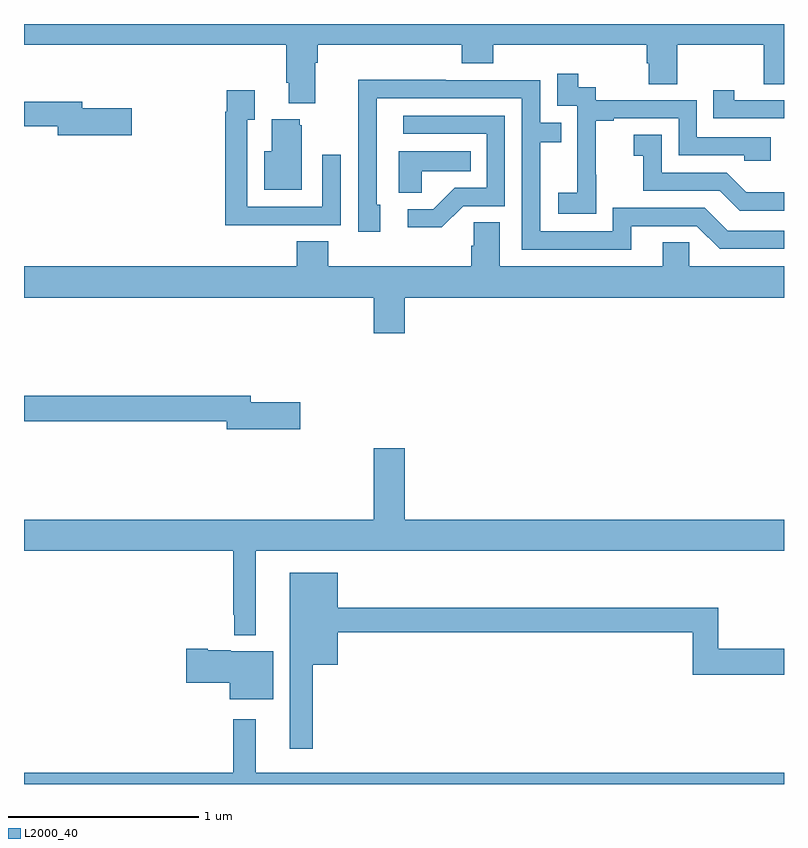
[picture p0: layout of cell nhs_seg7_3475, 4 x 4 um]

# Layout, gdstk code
import gdstk
lib = gdstk.Library(unit=1e-6, precision=1e-09)
def P(c, l, *ps):  # polygons
    for p in ps: c.add(gdstk.Polygon(p, *l))
L2000_40 = (2000, 40)

nhs_seg7_3475 = lib.new_cell('nhs_seg7_3475')
P(nhs_seg7_3475, L2000_40, [(332.533,1057.796),(332.546,1057.796),(332.546,1057.892),(333.305,1057.892),(333.305,1057.793),(333.47,1057.793),(333.47,1057.892),(334.277,1057.892),(334.277,1057.794),(334.289,1057.794),(334.289,1057.684),(334.437,1057.684),(334.437,1057.892),(334.894,1057.892),(334.894,1057.684),(335,1057.684),(335,1058),(331,1058),(331,1057.892),(332.381,1057.892),(332.381,1057.69),(332.393,1057.69),(332.393,1057.583),(332.533,1057.583)],
  [(334.011,1057.207),(334.01,1057.207),(334.01,1057.491),(334.105,1057.491),(334.105,1057.503),(334.446,1057.503),(334.446,1057.308),(334.791,1057.308),(334.791,1057.281),(334.931,1057.281),(334.931,1057.404),(334.542,1057.404),(334.542,1057.599),(334.008,1057.599),(334.008,1057.668),(333.916,1057.668),(333.916,1057.738),(333.807,1057.738),(333.807,1057.569),(333.912,1057.569),(333.912,1057.34),(333.911,1057.34),(333.911,1057.111),(333.813,1057.111),(333.813,1057.001),(334.011,1057.001)],
  [(334.195,1056.936),(334.542,1056.936),(334.662,1056.816),(335,1056.816),(335,1056.912),(334.704,1056.912),(334.584,1057.032),(334.098,1057.032),(334.098,1056.909),(333.717,1056.909),(333.717,1057.378),(333.827,1057.378),(333.827,1057.479),(333.717,1057.479),(333.717,1057.704),(333.221,1057.704),(333.221,1057.706),(332.758,1057.706),(332.758,1057.399),(332.76,1057.399),(332.76,1056.906),(332.875,1056.906),(332.875,1057.05),(332.856,1057.05),(332.856,1057.608),(333.621,1057.608),(333.621,1056.813),(334.195,1056.813)],
  [(335,1057.599),(334.738,1057.599),(334.738,1057.651),(334.627,1057.651),(334.627,1057.503),(335,1057.503)],
  [(332.351,1056.942),(332.667,1056.942),(332.667,1057.312),(332.571,1057.312),(332.571,1057.038),(332.175,1057.038),(332.175,1057.495),(332.215,1057.495),(332.215,1057.651),(332.067,1057.651),(332.067,1057.538),(332.059,1057.538),(332.059,1056.941),(332.351,1056.941)],
  [(331.567,1057.557),(331.306,1057.557),(331.306,1057.591),(331,1057.591),(331,1057.462),(331.178,1057.462),(331.178,1057.415),(331.567,1057.415)],
  [(333.312,1057.041),(333.531,1057.041),(333.531,1057.518),(332.997,1057.518),(332.997,1057.422),(333.435,1057.422),(333.435,1057.137),(333.266,1057.137),(333.155,1057.026),(333.021,1057.026),(333.021,1056.929),(333.199,1056.929)],
  [(332.461,1057.467),(332.45,1057.467),(332.45,1057.498),(332.303,1057.498),(332.303,1057.33),(332.264,1057.33),(332.264,1057.127),(332.461,1057.127)],
  [(335,1057.114),(334.802,1057.114),(334.698,1057.218),(334.356,1057.218),(334.356,1057.417),(334.209,1057.417),(334.209,1057.307),(334.258,1057.307),(334.258,1057.122),(334.661,1057.122),(334.766,1057.017),(335,1057.017)],
  [(333.093,1057.226),(333.35,1057.226),(333.35,1057.33),(332.972,1057.33),(332.972,1057.111),(333.093,1057.111)],
  [(333.004,1056.56),(335,1056.56),(335,1056.724),(334.5,1056.724),(334.5,1056.851),(334.361,1056.851),(334.361,1056.724),(333.505,1056.724),(333.505,1056.956),(333.366,1056.956),(333.366,1056.833),(333.353,1056.833),(333.353,1056.724),(332.6,1056.724),(332.6,1056.857),(332.435,1056.857),(332.435,1056.724),(331,1056.724),(331,1056.56),(332.84,1056.56),(332.84,1056.372),(333.004,1056.372)],
  [(332.455,1056.008),(332.194,1056.008),(332.194,1056.044),(331,1056.044),(331,1055.908),(332.066,1055.908),(332.066,1055.866),(332.455,1055.866)],
  [(332.221,1055.228),(335,1055.228),(335,1055.392),(333.004,1055.392),(333.004,1055.767),(332.84,1055.767),(332.84,1055.392),(331,1055.392),(331,1055.228),(332.1,1055.228),(332.1,1054.891),(332.107,1054.891),(332.107,1054.784),(332.221,1054.784)],
  [(332.521,1054.628),(332.65,1054.628),(332.65,1054.798),(334.519,1054.798),(334.519,1054.576),(335,1054.576),(335,1054.712),(334.655,1054.712),(334.655,1054.927),(332.65,1054.927),(332.65,1055.113),(332.399,1055.113),(332.399,1054.185),(332.521,1054.185)],
  [(332.311,1054.699),(332.088,1054.699),(332.088,1054.705),(331.966,1054.705),(331.966,1054.712),(331.854,1054.712),(331.854,1054.534),(332.084,1054.534),(332.084,1054.445),(332.311,1054.445)],
  [(335,1054.06),(332.221,1054.06),(332.221,1054.342),(332.1,1054.342),(332.1,1054.06),(331,1054.06),(331,1054),(335,1054)])

lib.write_gds('nhs_seg7_3475.gds')
